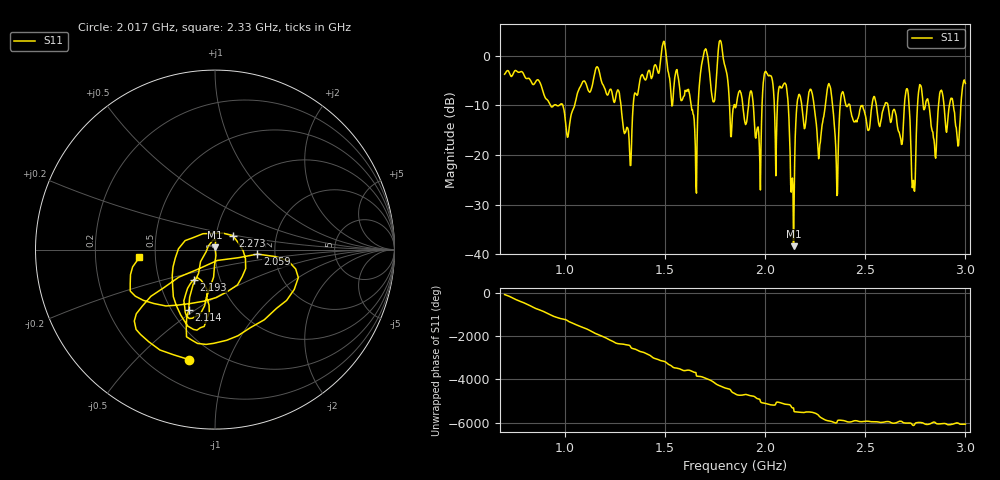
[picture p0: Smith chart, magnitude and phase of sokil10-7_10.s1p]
# HZ S RI R 50
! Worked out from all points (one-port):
!   808 points, 700 MHz to 3 GHz, reference 50 ohm
!   lowest |S11| = -38.4 dB at 2.142 GHz (marker M1), VSWR 1.02, Z = 50.1 + j1.2 ohm
!   |S11| at or under -10 dB: 1.281 GHz to 1.342 GHz (60.8 MHz wide, 4.64 % of centre); 2.424 GHz to 2.533 GHz (108.9 MHz wide, 4.39 % of centre); 2.614 GHz to 2.696 GHz (81.99 MHz wide, 3.09 % of centre)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
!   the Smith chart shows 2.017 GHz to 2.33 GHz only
!   S11 on the Smith chart (normalised r, x): 2.017 GHz: 0.36, -0.73; 2.059 GHz: 1.62, -0.09; 2.114 GHz: 0.61, -0.47; 2.193 GHz: 0.75, -0.26; 2.273 GHz: 1.21, +0.19; 2.33 GHz: 0.41, -0.04
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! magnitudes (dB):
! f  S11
! 700 MHz  -3.7
! 987.9 MHz  -9.7
! 1.276 GHz  -8.6
! 1.324 GHz  -19.3
! 1.492 GHz  2.8
! 1.564 GHz  -3.7
! 1.652 GHz  -18.3
! 1.7 GHz  1.2
! 1.851 GHz  -10.5
! 1.968 GHz  -15.4
! 2.017 GHz  -4.0
! 2.059 GHz  -12.5
! 2.114 GHz  -8.7
! 2.139 GHz  -26.5
! 2.142 GHz  -38.4
! 2.165 GHz  -8.5
! 2.193 GHz  -13.8
! 2.23 GHz  -6.9
! 2.273 GHz  -17.9
! 2.33 GHz  -7.5
! 2.356 GHz  -22.2
! 2.384 GHz  -7.5
! 2.427 GHz  -11.0
! 2.715 GHz  -7.8
! 2.741 GHz  -25.1
! 2.772 GHz  -5.8
! 2.846 GHz  -18.1
! 3 GHz  -5.6
